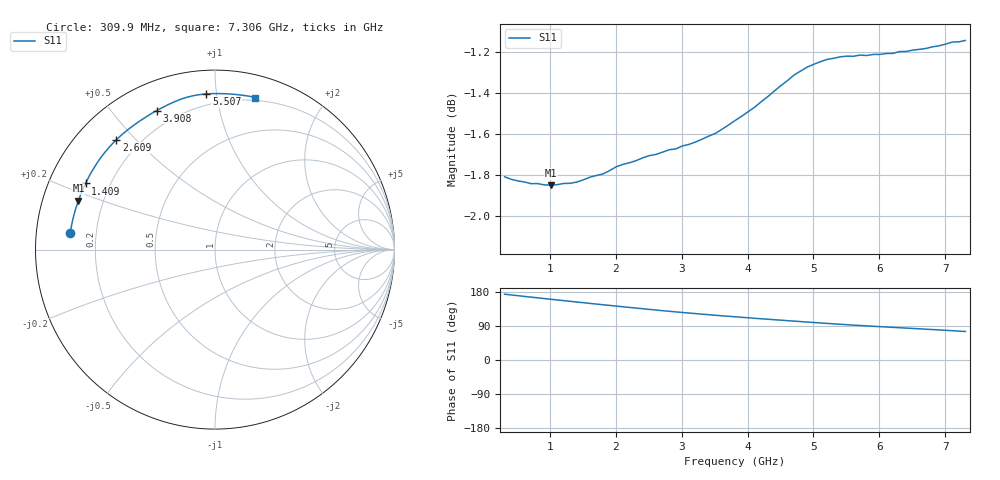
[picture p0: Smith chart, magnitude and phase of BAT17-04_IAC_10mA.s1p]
! Infineon Technologies  Discrete & RF Semiconductors
! BAT17-04
! IAC = 10 mA
! One-Port S-Parameters
# Hz  S  MA  R  50
!f  S11
!Hz  Mag  Ang
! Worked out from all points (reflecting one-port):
!   71 points, 309.9 MHz to 7.306 GHz, reference 50 ohm
!   lowest |S11| = -1.8 dB at 1.01 GHz (marker M1), VSWR 9.43, Z = 5.46 + j8.61 ohm
!   phase of S11 starts at 174 deg and turns -98 deg over the sweep
!   S11 on the Smith chart (normalised r, x): 309.9 MHz: 0.10, +0.06; 1.409 GHz: 0.11, +0.24; 2.609 GHz: 0.12, +0.44; 3.908 GHz: 0.13, +0.66; 5.507 GHz: 0.13, +0.94; 7.306 GHz: 0.18, +1.28
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3.0985e8  0.812 173.6
6.097e8  0.8097 167.8
8.096e8  0.809 164.0
1.0095e9  0.8083 160.2
1.2094e9  0.809 156.6
1.4093e9  0.8097 152.9
1.70915e9  0.8127 147.5
1.90905e9  0.815 144.0
2.10895e9  0.8177 140.4
2.4088e9  0.8207 135.3
2.50875e9  0.8217 133.5
2.6087e9  0.8223 131.9
2.70865e9  0.8233 130.1
3.0085e9  0.8262 125.4
3.30835e9  0.8293 121.0
3.6082e9  0.8339 116.7
3.8081e9  0.838 114.0
3.90805e9  0.84 112.7
4.30785e9  0.8493 107.5
4.70765e9  0.8597 102.6
4.90755e9  0.8635 100.1
5.10745e9  0.8661 97.7
5.50725e9  0.8688 93.2
5.6072e9  0.8687 92.1
6.10695e9  0.8701 87.1
6.50675e9  0.8717 83.2
7.10645e9  0.8757 77.3
7.30635e9  0.8764 75.2
